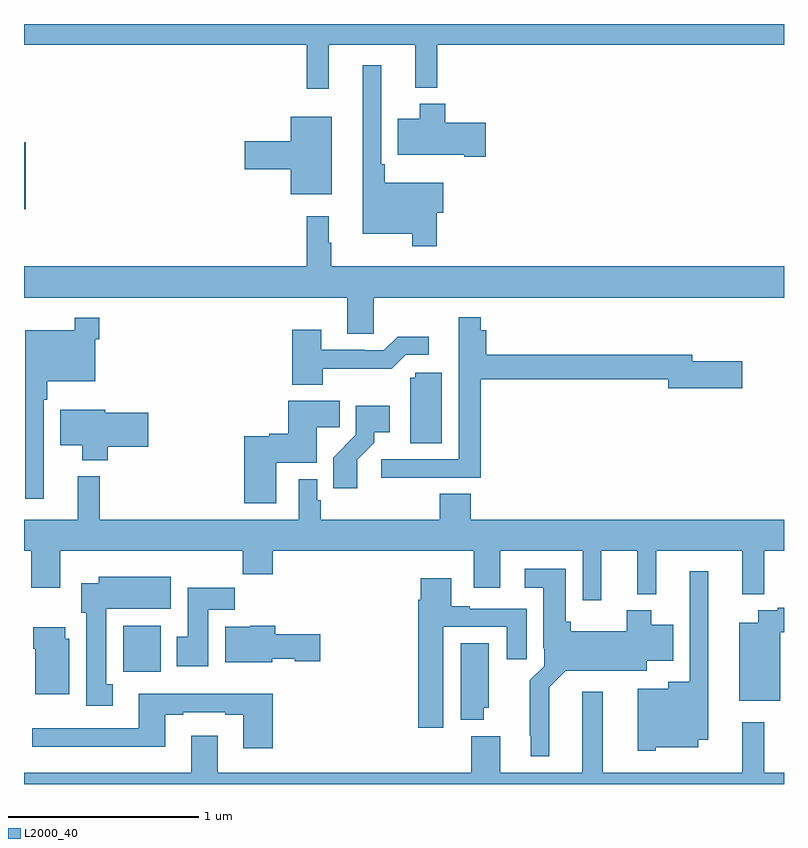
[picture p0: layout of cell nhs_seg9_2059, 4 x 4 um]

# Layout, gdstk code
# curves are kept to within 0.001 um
import gdstk
lib = gdstk.Library(unit=1e-6, precision=1e-09)
def R(c, l, rs):  # rectangles x0, y0, x1, y1
    for r in rs: c.add(gdstk.rectangle(r[:2], r[2:], *l))
def P(c, l, *ps):  # polygons
    for p in ps: c.add(gdstk.Polygon(p, *l))
L2000_40 = (2000, 40)

nhs_seg9_2059 = lib.new_cell('nhs_seg9_2059')
R(nhs_seg9_2059, L2000_40, [(227.522,1221.092,227.719,1221.334), (227,1223.525,227.009,1223.878)])
P(nhs_seg9_2059, L2000_40, [(228.605,1224.392),(229.058,1224.392),(229.058,1224.164),(229.175,1224.164),(229.175,1224.392),(231,1224.392),(231,1224.5),(227,1224.5),(227,1224.392),(228.487,1224.392),(228.487,1224.159),(228.605,1224.159)],
  [(229.172,1223.507),(229.207,1223.507),(229.207,1223.665),(228.899,1223.665),(228.899,1223.761),(228.879,1223.761),(228.879,1224.283),(228.782,1224.283),(228.782,1223.396),(229.044,1223.396),(229.044,1223.331),(229.172,1223.331)],
  [(229.429,1223.979),(229.217,1223.979),(229.217,1224.079),(229.082,1224.079),(229.082,1224.001),(228.968,1224.001),(228.968,1223.813),(229.316,1223.813),(229.316,1223.801),(229.429,1223.801)],
  [(228.619,1224.013),(228.404,1224.013),(228.404,1223.882),(228.162,1223.882),(228.162,1223.735),(228.404,1223.735),(228.404,1223.603),(228.619,1223.603)],
  [(228.84,1223.06),(231,1223.06),(231,1223.224),(228.616,1223.224),(228.616,1223.348),(228.604,1223.348),(228.604,1223.488),(228.487,1223.488),(228.487,1223.224),(227,1223.224),(227,1223.06),(228.701,1223.06),(228.701,1222.87),(228.84,1222.87)],
  [(229.103,1222.113),(229.403,1222.113),(229.403,1222.63),(230.39,1222.63),(230.39,1222.583),(230.779,1222.583),(230.779,1222.725),(230.518,1222.725),(230.518,1222.759),(229.433,1222.759),(229.433,1222.888),(229.403,1222.888),(229.403,1222.957),(229.287,1222.957),(229.287,1222.209),(228.879,1222.209),(228.879,1222.111),(229.103,1222.111)],
  [(227.103,1222.523),(227.123,1222.523),(227.123,1222.619),(227.376,1222.619),(227.376,1222.841),(227.396,1222.841),(227.396,1222.954),(227.268,1222.954),(227.268,1222.888),(227.006,1222.888),(227.006,1222.002),(227.103,1222.002)],
  [(228.573,1222.686),(228.935,1222.685),(229.008,1222.758),(229.129,1222.758),(229.129,1222.855),(228.967,1222.855),(228.894,1222.782),(228.794,1222.782),(228.794,1222.785),(228.565,1222.785),(228.565,1222.891),(228.413,1222.891),(228.413,1222.601),(228.573,1222.601)],
  [(229.198,1222.665),(229.059,1222.665),(229.059,1222.638),(229.034,1222.638),(229.034,1222.294),(229.198,1222.294)],
  [(228.328,1222.19),(228.541,1222.19),(228.541,1222.378),(228.662,1222.378),(228.662,1222.516),(228.392,1222.516),(228.392,1222.343),(228.291,1222.343),(228.291,1222.33),(228.158,1222.33),(228.158,1221.978),(228.328,1221.978)],
  [(228.754,1222.207),(228.844,1222.297),(228.844,1222.352),(228.925,1222.352),(228.925,1222.492),(228.747,1222.492),(228.747,1222.337),(228.628,1222.218),(228.628,1222.056),(228.754,1222.056)],
  [(227.441,1222.276),(227.653,1222.276),(227.653,1222.454),(227.428,1222.454),(227.428,1222.471),(227.192,1222.471),(227.192,1222.283),(227.306,1222.283),(227.306,1222.205),(227.441,1222.205)],
  [(230.039,1221.728),(230.228,1221.728),(230.228,1221.5),(230.327,1221.5),(230.327,1221.728),(230.78,1221.728),(230.78,1221.499),(230.897,1221.499),(230.897,1221.728),(231,1221.728),(231,1221.892),(229.352,1221.892),(229.352,1222.028),(229.187,1222.028),(229.187,1221.892),(228.563,1221.892),(228.563,1221.993),(228.543,1221.993),(228.543,1222.105),(228.447,1222.105),(228.447,1221.892),(227.399,1221.892),(227.399,1222.12),(227.282,1222.12),(227.282,1221.892),(227,1221.892),(227,1221.728),(227.039,1221.728),(227.039,1221.534),(227.191,1221.534),(227.191,1221.728),(228.151,1221.728),(228.151,1221.604),(228.308,1221.604),(228.308,1221.728),(229.367,1221.728),(229.367,1221.534),(229.507,1221.534),(229.507,1221.728),(229.941,1221.728),(229.941,1221.468),(230.039,1221.468)],
  [(229.765,1221.008),(229.851,1221.095),(230.278,1221.095),(230.278,1221.149),(230.416,1221.149),(230.416,1221.337),(230.302,1221.337),(230.302,1221.415),(230.173,1221.415),(230.173,1221.304),(229.878,1221.304),(229.878,1221.354),(229.852,1221.354),(229.852,1221.634),(229.635,1221.634),(229.635,1221.533),(229.733,1221.533),(229.733,1221.214),(229.737,1221.214),(229.737,1221.12),(229.663,1221.046),(229.663,1220.755),(229.667,1220.755),(229.667,1220.645),(229.765,1220.645)],
  [(230.325,1220.693),(230.548,1220.693),(230.548,1220.732),(230.602,1220.732),(230.602,1221.619),(230.505,1221.619),(230.505,1221.037),(230.39,1221.037),(230.39,1221.001),(230.231,1221.001),(230.231,1220.675),(230.325,1220.675)],
  [(227.467,1221.026),(227.434,1221.026),(227.434,1221.422),(227.773,1221.422),(227.773,1221.592),(227.393,1221.592),(227.393,1221.556),(227.3,1221.556),(227.3,1221.402),(227.327,1221.402),(227.327,1220.913),(227.467,1220.913)],
  [(229.207,1221.327),(229.541,1221.327),(229.541,1221.156),(229.645,1221.156),(229.645,1221.423),(229.345,1221.423),(229.345,1221.436),(229.249,1221.436),(229.249,1221.583),(229.088,1221.583),(229.088,1221.47),(229.076,1221.47),(229.076,1220.796),(229.207,1220.796)],
  [(227.971,1221.416),(228.11,1221.416),(228.11,1221.534),(227.861,1221.534),(227.861,1221.276),(227.804,1221.276),(227.804,1221.12),(227.971,1221.12)],
  [(230.98,1221.298),(231,1221.298),(231,1221.427),(230.968,1221.427),(230.968,1221.414),(230.864,1221.414),(230.864,1221.349),(230.765,1221.349),(230.765,1220.939),(230.98,1220.939)],
  [(228.306,1221.158),(228.426,1221.158),(228.426,1221.146),(228.559,1221.146),(228.559,1221.288),(228.323,1221.288),(228.323,1221.334),(228.192,1221.334),(228.192,1221.328),(228.059,1221.328),(228.059,1221.14),(228.306,1221.14)],
  [(227.239,1221.264),(227.218,1221.264),(227.218,1221.325),(227.048,1221.325),(227.048,1221.212),(227.06,1221.212),(227.06,1220.972),(227.239,1220.972)],
  [(229.42,1220.901),(229.447,1220.901),(229.447,1221.242),(229.298,1221.242),(229.298,1220.837),(229.42,1220.837)],
  [(231,1220.56),(230.897,1220.56),(230.897,1220.824),(230.779,1220.824),(230.779,1220.56),(230.047,1220.56),(230.047,1220.986),(229.937,1220.986),(229.937,1220.56),(229.507,1220.56),(229.507,1220.752),(229.355,1220.752),(229.355,1220.56),(228.019,1220.56),(228.019,1220.755),(227.879,1220.755),(227.879,1220.56),(227,1220.56),(227,1220.5),(231,1220.5)],
  [(228.308,1220.974),(227.603,1220.974),(227.603,1220.793),(227.043,1220.793),(227.043,1220.696),(227.743,1220.696),(227.743,1220.865),(227.839,1220.865),(227.839,1220.877),(228.059,1220.877),(228.059,1220.865),(228.155,1220.865),(228.155,1220.688),(228.308,1220.688)])

lib.write_gds('nhs_seg9_2059.gds')
